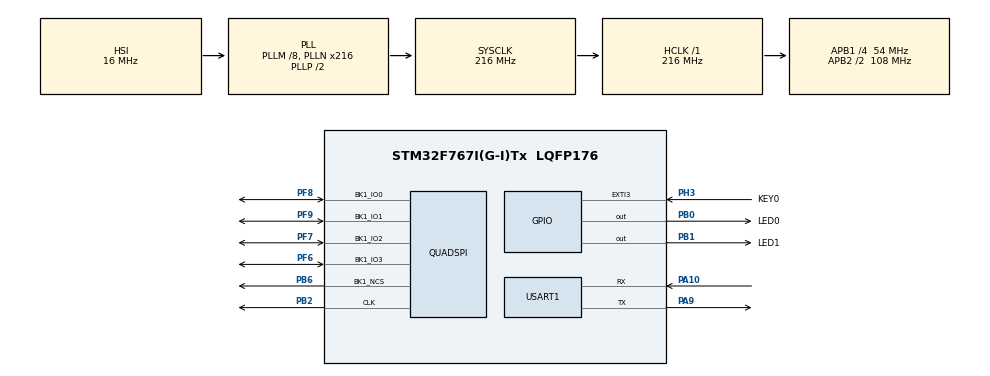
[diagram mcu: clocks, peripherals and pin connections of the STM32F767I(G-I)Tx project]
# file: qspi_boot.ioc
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Dma.Request0=USART1_TX
Dma.Request1=USART1_RX
Dma.USART1_RX.1.Direction=DMA_PERIPH_TO_MEMORY
Dma.USART1_RX.1.FIFOMode=DMA_FIFOMODE_DISABLE
Dma.USART1_RX.1.Instance=DMA2_Stream2
Dma.USART1_RX.1.MemDataAlignment=DMA_MDATAALIGN_BYTE
Dma.USART1_RX.1.MemInc=DMA_MINC_ENABLE
Dma.USART1_RX.1.Mode=DMA_NORMAL
Dma.USART1_RX.1.PeriphDataAlignment=DMA_PDATAALIGN_BYTE
Dma.USART1_RX.1.PeriphInc=DMA_PINC_DISABLE
Dma.USART1_RX.1.Priority=DMA_PRIORITY_LOW
Dma.USART1_TX.0.Direction=DMA_MEMORY_TO_PERIPH
Dma.USART1_TX.0.FIFOMode=DMA_FIFOMODE_DISABLE
Dma.USART1_TX.0.Instance=DMA2_Stream7
Dma.USART1_TX.0.MemDataAlignment=DMA_MDATAALIGN_BYTE
Dma.USART1_TX.0.MemInc=DMA_MINC_ENABLE
Dma.USART1_TX.0.Mode=DMA_NORMAL
Dma.USART1_TX.0.PeriphDataAlignment=DMA_PDATAALIGN_BYTE
Dma.USART1_TX.0.PeriphInc=DMA_PINC_DISABLE
Dma.USART1_TX.0.Priority=DMA_PRIORITY_LOW
FREERTOS.Tasks01=defaultTask,0,2048,StartDefaultTask,Default,NULL,Dynamic,NULL,NULL
FREERTOS.configMINIMAL_STACK_SIZE=2048
FREERTOS.configTOTAL_HEAP_SIZE=102400
FREERTOS.configUSE_NEWLIB_REENTRANT=1
Mcu.Family=STM32F7
Mcu.Name=STM32F767I(G-I)Tx
Mcu.Package=LQFP176
NVIC.DMA2_Stream2_IRQn=true\:5\:0\:false\:false\:true\:true\:false\:true\:true
NVIC.DMA2_Stream7_IRQn=true\:5\:0\:false\:false\:true\:true\:false\:true\:true
NVIC.EXTI3_IRQn=true\:0\:0\:false\:false\:true\:false\:true\:true\:true
NVIC.PriorityGroup=NVIC_PRIORITYGROUP_4
NVIC.TIM1_UP_TIM10_IRQn=true\:15\:0\:false\:false\:true\:false\:false\:true\:true
NVIC.TimeBase=TIM1_UP_TIM10_IRQn
NVIC.TimeBaseIP=TIM10
NVIC.USART1_IRQn=true\:5\:0\:false\:false\:true\:true\:true\:true\:true
PA10.Mode=Asynchronous
PA10.Signal=USART1_RX
PA13.Mode=Trace_Synchro_4bits_JTAG
PA13.Signal=SYS_JTMS-SWDIO
PA14.Mode=Trace_Synchro_4bits_JTAG
PA14.Signal=SYS_JTCK-SWCLK
PA15.Mode=Trace_Synchro_4bits_JTAG
PA15.Signal=SYS_JTDI
PA9.Mode=Asynchronous
PA9.Signal=USART1_TX
PB0.GPIO_Label=LED0
PB0.PinState=GPIO_PIN_SET
PB0.Signal=GPIO_Output
PB1.GPIO_Label=LED1
PB1.PinState=GPIO_PIN_SET
PB1.Signal=GPIO_Output
PB2.Mode=Single Bank 1
PB2.Signal=QUADSPI_CLK
PB3.Mode=Trace_Synchro_4bits_JTAG
PB3.Signal=SYS_JTDO-SWO
PB6.Mode=Single Bank 1
PB6.Signal=QUADSPI_BK1_NCS
PC14/OSC32_IN.Mode=LSE-External-Oscillator
PC14/OSC32_IN.Signal=RCC_OSC32_IN
PC15/OSC32_OUT.Mode=LSE-External-Oscillator
PC15/OSC32_OUT.Signal=RCC_OSC32_OUT
PE2.Mode=Trace_Synchro_4bits_JTAG
PE2.Signal=SYS_TRACECLK
PE3.Mode=Trace_Synchro_4bits_JTAG
PE3.Signal=SYS_TRACED0
PE4.Mode=Trace_Synchro_4bits_JTAG
PE4.Signal=SYS_TRACED1
PE5.Mode=Trace_Synchro_4bits_JTAG
PE5.Signal=SYS_TRACED2
PE6.Mode=Trace_Synchro_4bits_JTAG
PE6.Signal=SYS_TRACED3
PF6.Mode=Single Bank 1
PF6.Signal=QUADSPI_BK1_IO3
PF7.Mode=Single Bank 1
PF7.Signal=QUADSPI_BK1_IO2
PF8.Mode=Single Bank 1
PF8.Signal=QUADSPI_BK1_IO0
PF9.Mode=Single Bank 1
PF9.Signal=QUADSPI_BK1_IO1
PH0/OSC_IN.Mode=HSE-External-Oscillator
PH0/OSC_IN.Signal=RCC_OSC_IN
PH1/OSC_OUT.Mode=HSE-External-Oscillator
PH1/OSC_OUT.Signal=RCC_OSC_OUT
PH3.GPIO_Label=KEY0
PH3.GPIO_PuPd=GPIO_PULLUP
PH3.Signal=GPXTI3
ProjectManager.HeapSize=0x2000
ProjectManager.StackSize=0x2000
ProjectManager.TargetToolchain=STM32CubeIDE
QUADSPI.ChipSelectHighTime=QSPI_CS_HIGH_TIME_5_CYCLE
QUADSPI.ClockPrescaler=1
QUADSPI.FifoThreshold=32
QUADSPI.FlashSize=24
QUADSPI.SampleShifting=QSPI_SAMPLE_SHIFTING_HALFCYCLE
RCC.AHBFreq_Value=216000000
RCC.APB1CLKDivider=RCC_HCLK_DIV4
RCC.APB1Freq_Value=54000000
RCC.APB1TimFreq_Value=108000000
RCC.APB2CLKDivider=RCC_HCLK_DIV2
RCC.APB2Freq_Value=108000000
RCC.APB2TimFreq_Value=216000000
RCC.CortexFreq_Value=216000000
RCC.HCLKFreq_Value=216000000
RCC.HSE_VALUE=25000000
RCC.HSI_VALUE=16000000
RCC.PLLM=8
RCC.PLLN=216
RCC.SYSCLKFreq_VALUE=216000000
RCC.SYSCLKSource=RCC_SYSCLKSOURCE_PLLCLK
RCC.USBFreq_Value=216000000
RCC.VCOOutputFreq_Value=432000000
USART1.VirtualMode-Asynchronous=VM_ASYNC
VP_FREERTOS_VS_CMSIS_V1.Mode=CMSIS_V1
VP_SYS_VS_tim10.Mode=TIM10
board=custom

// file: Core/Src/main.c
/* USER CODE BEGIN Header */
/**
  ******************************************************************************
  * @file           : main.c
  * @brief          : Main program body
  ******************************************************************************
  * @attention
  *
  * Copyright (c) 2024 STMicroelectronics.
  * All rights reserved.
  *
  * This software is licensed under terms that can be found in the LICENSE file
  * in the root directory of this software component.
  * If no LICENSE file comes with this software, it is provided AS-IS.
  *
  ******************************************************************************
  */
/* USER CODE END Header */
#include "main.h"
#include "cmsis_os.h"
#include "dma.h"
#include "quadspi.h"
#include "usart.h"
#include "gpio.h"

void SystemClock_Config(void);
void MX_FREERTOS_Init(void);

int main(void)
{

  /* MCU Configuration--------------------------------------------------------*/

  /* Reset of all peripherals, Initializes the Flash interface and the Systick. */
  HAL_Init();

  /* Configure the system clock */
  SystemClock_Config();

  /* Initialize all configured peripherals */
  MX_GPIO_Init();
  MX_DMA_Init();
  MX_USART1_UART_Init();
  MX_QUADSPI_Init();

  /* Call init function for freertos objects (in freertos.c) */
  MX_FREERTOS_Init();

  /* Start scheduler */
  osKernelStart();

  /* We should never get here as control is now taken by the scheduler */
  /* Infinite loop */
  while (1)
  {

  }
}

void SystemClock_Config(void)
{
  RCC_OscInitTypeDef RCC_OscInitStruct = {0};
  RCC_ClkInitTypeDef RCC_ClkInitStruct = {0};

  /** Configure LSE Drive Capability
  */
  HAL_PWR_EnableBkUpAccess();

  /** Configure the main internal regulator output voltage
  */
  __HAL_RCC_PWR_CLK_ENABLE();
  __HAL_PWR_VOLTAGESCALING_CONFIG(PWR_REGULATOR_VOLTAGE_SCALE1);

  /** Initializes the RCC Oscillators according to the specified parameters
  * in the RCC_OscInitTypeDef structure.
  */
  RCC_OscInitStruct.OscillatorType = RCC_OSCILLATORTYPE_HSI;
  RCC_OscInitStruct.HSIState = RCC_HSI_ON;
  RCC_OscInitStruct.HSICalibrationValue = RCC_HSICALIBRATION_DEFAULT;
  RCC_OscInitStruct.PLL.PLLState = RCC_PLL_ON;
  RCC_OscInitStruct.PLL.PLLSource = RCC_PLLSOURCE_HSI;
  RCC_OscInitStruct.PLL.PLLM = 8;
  RCC_OscInitStruct.PLL.PLLN = 216;
  RCC_OscInitStruct.PLL.PLLP = RCC_PLLP_DIV2;
  RCC_OscInitStruct.PLL.PLLQ = 2;
  RCC_OscInitStruct.PLL.PLLR = 2;
  if (HAL_RCC_OscConfig(&RCC_OscInitStruct) != HAL_OK)
  {
    Error_Handler();
  }

  /** Activate the Over-Drive mode
  */
  if (HAL_PWREx_EnableOverDrive() != HAL_OK)
  {
    Error_Handler();
  }

  /** Initializes the CPU, AHB and APB buses clocks
  */
  RCC_ClkInitStruct.ClockType = RCC_CLOCKTYPE_HCLK|RCC_CLOCKTYPE_SYSCLK
                              |RCC_CLOCKTYPE_PCLK1|RCC_CLOCKTYPE_PCLK2;
  RCC_ClkInitStruct.SYSCLKSource = RCC_SYSCLKSOURCE_PLLCLK;
  RCC_ClkInitStruct.AHBCLKDivider = RCC_SYSCLK_DIV1;
  RCC_ClkInitStruct.APB1CLKDivider = RCC_HCLK_DIV4;
  RCC_ClkInitStruct.APB2CLKDivider = RCC_HCLK_DIV2;

  if (HAL_RCC_ClockConfig(&RCC_ClkInitStruct, FLASH_LATENCY_7) != HAL_OK)
  {
    Error_Handler();
  }
}

void HAL_TIM_PeriodElapsedCallback(TIM_HandleTypeDef *htim)
{
  if (htim->Instance == TIM10) {
    HAL_IncTick();
  }
}

void Error_Handler(void)
{
  __disable_irq();
  while (1)
  {
  }
}

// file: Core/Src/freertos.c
/* USER CODE BEGIN Header */
/**
  ******************************************************************************
  * File Name          : freertos.c
  * Description        : Code for freertos applications
  ******************************************************************************
  * @attention
  *
  * Copyright (c) 2024 STMicroelectronics.
  * All rights reserved.
  *
  * This software is licensed under terms that can be found in the LICENSE file
  * in the root directory of this software component.
  * If no LICENSE file comes with this software, it is provided AS-IS.
  *
  ******************************************************************************
  */
/* USER CODE END Header */

#include "FreeRTOS.h"
#include "task.h"
#include "main.h"
#include "cmsis_os.h"

/* USER CODE BEGIN Includes */
#include <stdio.h>
#include <delay.h>
/* USER CODE END Includes */

/* USER CODE BEGIN Variables */
typedef  void (*iapfun)(void);

uint8_t jumpFlag = 0;

#define FLASH_APP_ADDR		0x90000000

osThreadId jumpTaskHandle;
/* USER CODE END Variables */
osThreadId defaultTaskHandle;

/* USER CODE BEGIN FunctionPrototypes */
void StartJumpTask(void const * argument);

iapfun jump2app;

//设置栈顶地址
//addr:栈顶地址
void MSR_MSP(uint32_t addr){
    asm("MSR MSP, r0");			//set Main Stack value
    asm("BX r14");
}

void iap_load_app(uint32_t appxaddr){
	if(((*(uint32_t*)appxaddr)&0x2FF00000)==0x20000000)	//检查主堆栈指针指向位置是否合法
	{
		// SysTick->CTRL = 0X00;//禁止SysTick
		// SysTick->LOAD = 0;
		// SysTick->VAL = 0;

		// HAL_SuspendTick();

		//__disable_irq();

		portDISABLE_INTERRUPTS();	//如果开启rtos

		jump2app=(iapfun)*(__IO uint32_t*)(appxaddr+4);		//�û��������ڶ�����Ϊ����ʼ��ַ(��λ��ַ)

		MSR_MSP(*(uint32_t*)appxaddr);					//设置APP的主堆栈指针

		//__set_MSP(*(__IO uint32_t*) appxaddr);
		jump2app();									//��ת��APP.
	}
}
/* USER CODE END FunctionPrototypes */

void StartDefaultTask(void const * argument);

void MX_FREERTOS_Init(void); /* (MISRA C 2004 rule 8.1) */

/* GetIdleTaskMemory prototype (linked to static allocation support) */
void vApplicationGetIdleTaskMemory( StaticTask_t **ppxIdleTaskTCBBuffer, StackType_t **ppxIdleTaskStackBuffer, uint32_t *pulIdleTaskStackSize );

/* USER CODE BEGIN GET_IDLE_TASK_MEMORY */
static StaticTask_t xIdleTaskTCBBuffer;
static StackType_t xIdleStack[configMINIMAL_STACK_SIZE];

void vApplicationGetIdleTaskMemory( StaticTask_t **ppxIdleTaskTCBBuffer, StackType_t **ppxIdleTaskStackBuffer, uint32_t *pulIdleTaskStackSize )
{
  *ppxIdleTaskTCBBuffer = &xIdleTaskTCBBuffer;
  *ppxIdleTaskStackBuffer = &xIdleStack[0];
  *pulIdleTaskStackSize = configMINIMAL_STACK_SIZE;
  /* place for user code */
}
/* USER CODE END GET_IDLE_TASK_MEMORY */

void MX_FREERTOS_Init(void) {

  /* Create the thread(s) */
  /* definition and creation of defaultTask */
  osThreadDef(defaultTask, StartDefaultTask, osPriorityNormal, 0, 2048);
  defaultTaskHandle = osThreadCreate(osThread(defaultTask), NULL);

  /* USER CODE BEGIN RTOS_THREADS */
  /* add threads, ... */
  osThreadDef(jumpTask, StartJumpTask, osPriorityNormal, 0, 2048);
  jumpTaskHandle = osThreadCreate(osThread(jumpTask), NULL);
  /* USER CODE END RTOS_THREADS */

}

void StartDefaultTask(void const * argument)
{
  /* USER CODE BEGIN StartDefaultTask */
  /* Infinite loop */
  printf("bootloader defult task started!!!\r\n");

  for(;;)
  {
	  HAL_GPIO_WritePin(GPIOB, LED0_Pin, GPIO_PIN_SET);
	  osDelay(500);
	  HAL_GPIO_WritePin(GPIOB, LED0_Pin, GPIO_PIN_RESET);
	  osDelay(500);

	  printf("hello bootloader\r\n");

  }
  /* USER CODE END StartDefaultTask */
}

/* USER CODE BEGIN Application */
void StartJumpTask(void const * argument)
{
  //printf("StartJumpTask started!!!\r\n");
  while(1){
    if(jumpFlag){
      printf("ready to jump!!!\r\n");
      osDelay(50);
      jumpFlag = 0;

      if (CSP_QSPI_EnableMemoryMappedMode() != HAL_OK) {
        while (1)
          ; //breakpoint - error detected
      }

      delay_ms(20);

      // uint8_t *temp = (uint8_t*)0x90000000;
      // for(int i=0; i<4; ++i){
      //   printf("%02X\r\n", temp[i]);  //两位宽度，0补齐
      // }

      iap_load_app(FLASH_APP_ADDR);
      while (1)
      {
        ;
      }

    }
//    else{
//    	printf("nothing\r\n");
//    }

    osDelay(500);
  }
}
/* USER CODE END Application */
